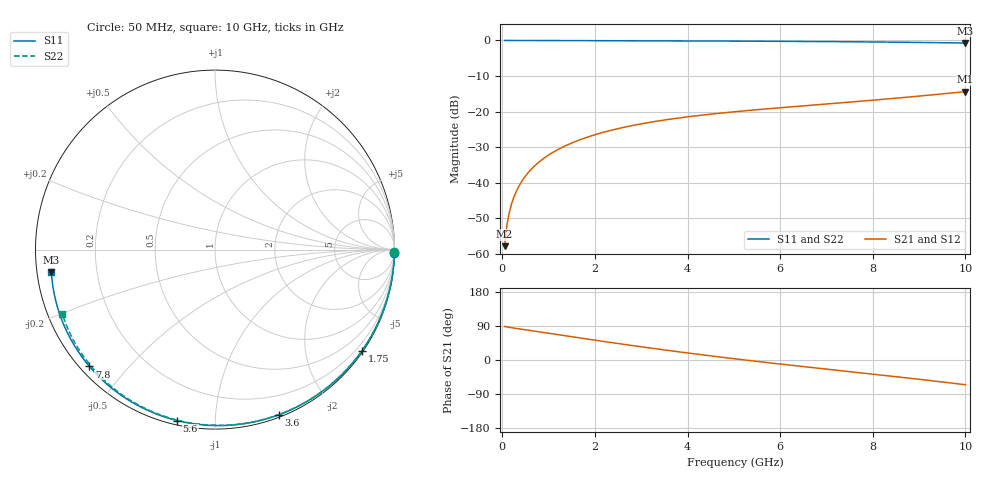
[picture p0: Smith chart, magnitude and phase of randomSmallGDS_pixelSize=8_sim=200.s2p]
! freq	dB(S11)	phase(S11)	dB(S12)	phase(S12)
!  dB(S21)	phase(S21)	dB(S22)	phase(S22)
!S-par simulation data
#  GHz  S  DB  R 50
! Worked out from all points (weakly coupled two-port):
!   200 points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, 50 MHz to 10 GHz, reference 50 ohm
!   highest |S21| = -14.37 dB at 10 GHz (marker M1); lowest = -57.8 dB at 50 MHz (marker M2)
!   lowest |S11| = -0.7 dB at 10 GHz (marker M3), VSWR 24.08, Z = 2.09 - j3.39 ohm
!   |S11| at or under -10 dB: nowhere
!   |S22| runs from -0.7 to 0.0 dB; largest |S21 - S12| = 0
!   S11 on the Smith chart (normalised r, x): 50 MHz: open; 1.75 GHz: 0.03, -3.21; 3.6 GHz: 0.02, -1.46; 5.6 GHz: 0.02, -0.80; 7.8 GHz: 0.03, -0.39; 10 GHz: 0.04, -0.07
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0.05  -0.00 -1.0  -57.81 88.5  -57.81 88.5  -0.00 -0.9
0.1  -0.00 -2.0  -51.85 87.1  -51.85 87.1  -0.00 -1.8
0.15  -0.00 -3.0  -48.38 86.1  -48.38 86.1  -0.00 -2.7
0.2  -0.00 -4.0  -45.93 85.1  -45.93 85.1  -0.00 -3.7
0.25  -0.00 -5.0  -44.03 84.2  -44.03 84.2  -0.00 -4.6
0.35  -0.01 -7.0  -41.16 82.5  -41.16 82.5  -0.01 -6.4
0.5  -0.01 -10.0  -38.10 79.8  -38.10 79.8  -0.01 -9.1
0.7  -0.02 -14.0  -35.22 76.2  -35.22 76.2  -0.02 -12.8
1  -0.03 -20.0  -32.19 70.6  -32.19 70.6  -0.02 -18.2
1.35  -0.04 -26.8  -29.68 64.2  -29.68 64.2  -0.04 -24.4
1.75  -0.05 -34.6  -27.56 56.8  -27.56 56.8  -0.05 -31.5
2.6  -0.08 -50.6  -24.48 41.7  -24.48 41.7  -0.07 -46.2
3.4  -0.11 -65.2  -22.55 28.2  -22.55 28.2  -0.10 -59.6
3.6  -0.12 -68.8  -22.16 25.0  -22.16 25.0  -0.11 -62.8
4.3  -0.15 -81.0  -21.00 13.9  -21.00 13.9  -0.14 -74.1
5.05  -0.18 -93.6  -19.99 2.7  -19.99 2.7  -0.17 -85.7
5.6  -0.21 -102.5  -19.35 -5.1  -19.35 -5.1  -0.20 -94.0
6.7  -0.29 -120.0  -18.18 -20.1  -18.18 -20.1  -0.27 -110.1
7.8  -0.39 -137.0  -17.01 -34.6  -17.01 -34.6  -0.37 -125.7
8.35  -0.46 -145.6  -16.40 -41.9  -16.40 -41.9  -0.43 -133.5
9.2  -0.58 -159.1  -15.39 -53.6  -15.39 -53.6  -0.55 -145.5
10  -0.72 -172.2  -14.37 -65.3  -14.37 -65.3  -0.69 -157.1
